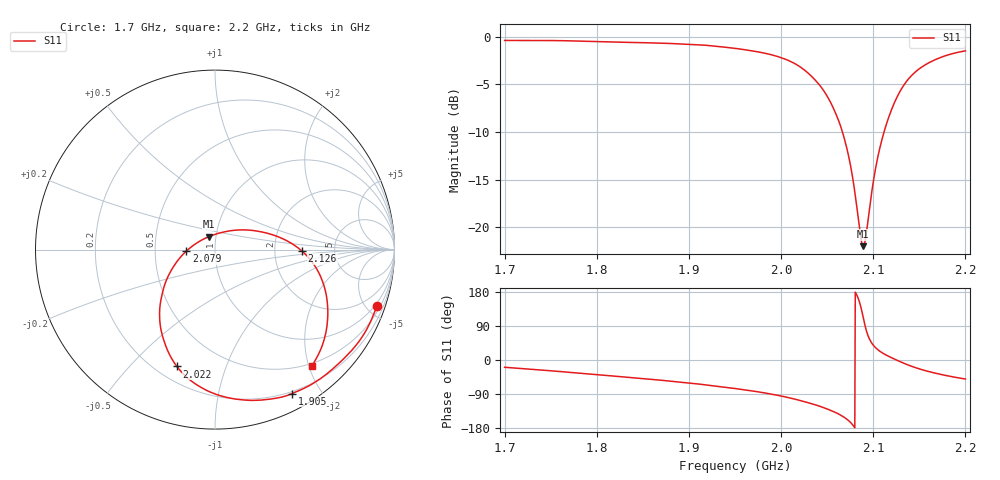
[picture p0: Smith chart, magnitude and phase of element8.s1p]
# Hz S RI R 50
! CMT, CMT808U, 21440046, 21.4.3/4
! Date: 12/1/2025 1:36:10 PM
! Data: Format (Calibration Info)
! Freq	S11:Re/Im(F2)
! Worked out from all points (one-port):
!   1001 points, 1.7 GHz to 2.2 GHz, reference 50 ohm
!   lowest |S11| = -22.0 dB at 2.089 GHz (marker M1), VSWR 1.17, Z = 46.4 + j6.81 ohm
!   |S11| at or under -10 dB: 2.067 GHz to 2.112 GHz (45.12 MHz wide, 2.16 % of centre)
!   S11 on the Smith chart (normalised r, x): 1.7 GHz: 0.80, -5.80; 1.905 GHz: 0.18, -1.65; 2.022 GHz: 0.28, -0.69; 2.079 GHz: 0.73, -0.01; 2.126 GHz: 2.88, -0.06; 2.2 GHz: 0.46, -2.05
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1.7e9  0.9025 -0.3144
1.7625e9  0.8178 -0.4896
1.825e9  0.6753 -0.6475
1.8875e9  0.4918 -0.7747
1.905e9  0.4282 -0.8025
1.95e9  0.2212 -0.8401
1.986e9  0.0211 -0.8114
1.9995e9  -0.0648 -0.775
2.0125e9  -0.1501 -0.7174
2.0225e9  -0.2126 -0.651
2.0405e9  -0.291 -0.4869
2.054e9  -0.3077 -0.3277
2.0655e9  -0.2749 -0.1805
2.0705e9  -0.244 -0.1158
2.075e9  -0.2068 -0.0599
2.0795e9  -0.1593 -0.00798
2.086e9  -0.0753 0.0525
2.089e9  -0.032 0.0729
2.092e9  0.0124 0.0886
2.1005e9  0.141 0.1097
2.107e9  0.2375 0.1027
2.116e9  0.362 0.0674
2.126e9  0.4842 -0.00789
2.1375e9  0.5798 -0.1318
2.1485e9  0.6203 -0.2545
2.1625e9  0.6272 -0.3906
2.182e9  0.5944 -0.5433
2.2e9  0.5397 -0.6481
